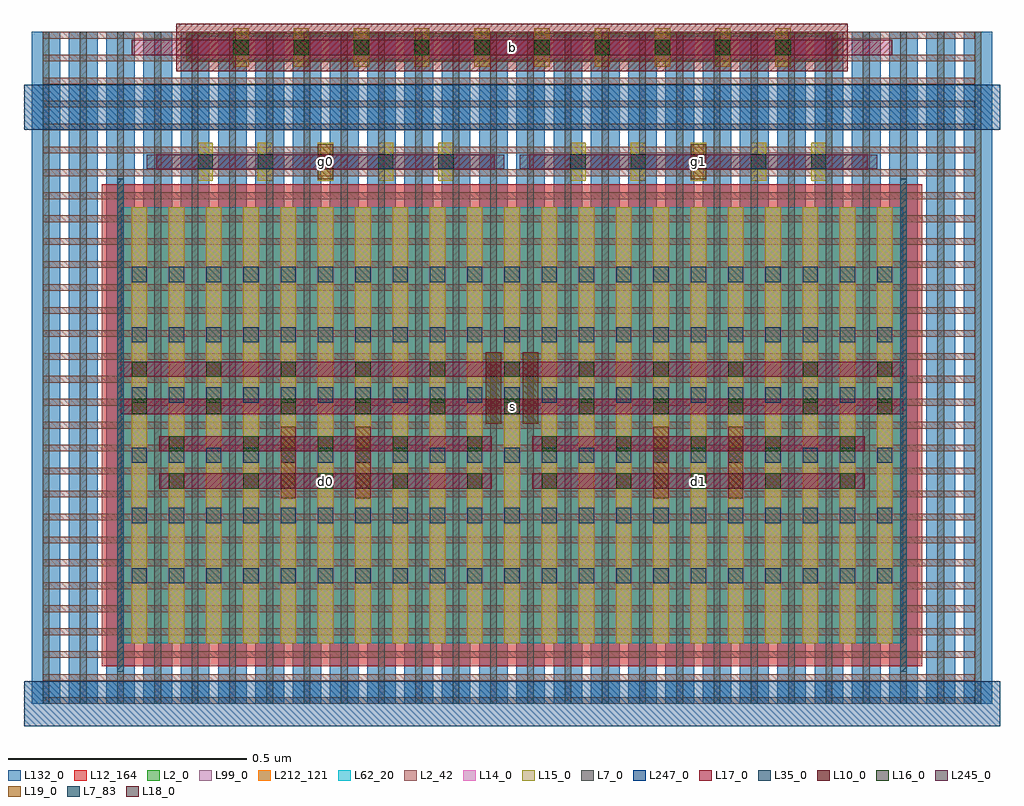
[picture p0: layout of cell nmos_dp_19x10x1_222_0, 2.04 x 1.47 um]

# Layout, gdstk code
import gdstk
lib = gdstk.Library(unit=1e-6, precision=1e-12)
def R(c, l, rs):  # rectangles x0, y0, x1, y1
    for r in rs: c.add(gdstk.rectangle(r[:2], r[2:], *l))
def A(c, l, x, y, w, h, nx, ny, dx, dy):  # array of equal rectangles
    R(c, l, [(x+i*dx, y+j*dy, x+i*dx+w, y+j*dy+h) for i in range(nx) for j in range(ny)])
L2_0 = (2, 0)
L2_42 = (2, 42)
L7_0 = (7, 0)
L7_83 = (7, 83)
L10_0 = (10, 0)
L12_164 = (12, 164)
L14_0 = (14, 0)
L15_0 = (15, 0)
L16_0 = (16, 0)
L17_0 = (17, 0)
L18_0 = (18, 0)
L19_0 = (19, 0)
L35_0 = (35, 0)
L62_20 = (62, 20)
L99_0 = (99, 0)
L132_0 = (132, 0)
L212_121 = (212, 121)
L245_0 = (245, 0)
L247_0 = (247, 0)

nmos_dp_19x10x1_222_0 = lib.new_cell('nmos_dp_19x10x1_222_0')
R(nmos_dp_19x10x1_222_0, L2_0, [(0.186,0.127,1.824,1.039), (0.323,1.343,1.687,1.403)])
A(nmos_dp_19x10x1_222_0, L2_42, 0.023, 0, 1.95, 0.014, 1, 30, 0, 0.048)
A(nmos_dp_19x10x1_222_0, L7_0, 0.023, 0, 0.014, 1.406, 26, 1, 0.078, 0)
R(nmos_dp_19x10x1_222_0, L7_83, [(0.179,0.067,0.193,1.099), (1.817,0.067,1.831,1.099)])
R(nmos_dp_19x10x1_222_0, L10_0, [(0.303,1.323,1.707,1.423)])
R(nmos_dp_19x10x1_222_0, L12_164, [(0.147,0.079,1.863,1.087)])
A(nmos_dp_19x10x1_222_0, L14_0, 0.208, 0.127, 0.034, 0.912, 21, 1, 0.078, 0)
R(nmos_dp_19x10x1_222_0, L14_0, [(0.338,1.353,1.672,1.393)])
A(nmos_dp_19x10x1_222_0, L15_0, 0.209, 0.127, 0.032, 0.912, 21, 1, 0.078, 0)
A(nmos_dp_19x10x1_222_0, L15_0, 0.347, 1.094, 0.032, 0.08, 5, 1, 0.126, 0)
A(nmos_dp_19x10x1_222_0, L15_0, 1.127, 1.094, 0.032, 0.08, 5, 1, 0.126, 0)
A(nmos_dp_19x10x1_222_0, L15_0, 0.422, 1.333, 0.032, 0.08, 10, 1, 0.126, 0)
A(nmos_dp_19x10x1_222_0, L16_0, 0.287, 0.45, 0.032, 0.032, 10, 2, 0.156, 0.078)
A(nmos_dp_19x10x1_222_0, L16_0, 0.209, 0.606, 0.032, 0.032, 11, 2, 0.156, 0.078)
A(nmos_dp_19x10x1_222_0, L16_0, 0.347, 1.118, 0.032, 0.032, 5, 1, 0.126, 0)
A(nmos_dp_19x10x1_222_0, L16_0, 1.127, 1.118, 0.032, 0.032, 5, 1, 0.126, 0)
A(nmos_dp_19x10x1_222_0, L16_0, 0.422, 1.357, 0.032, 0.032, 10, 1, 0.126, 0)
R(nmos_dp_19x10x1_222_0, L17_0, [(0.267,0.45,0.963,0.482), (1.047,0.45,1.743,0.482), (0.267,0.528,0.963,0.56), (1.047,0.528,1.743,0.56), (0.186,0.606,1.824,0.638), (0.186,0.684,1.824,0.716), (0.261,1.118,0.969,1.15), (1.041,1.118,1.749,1.15), (0.209,1.357,1.801,1.389)])
R(nmos_dp_19x10x1_222_0, L18_0, [(0.521,0.45,0.553,0.482), (0.677,0.45,0.709,0.482), (1.301,0.45,1.333,0.482), (1.457,0.45,1.489,0.482), (0.521,0.528,0.553,0.56), (0.677,0.528,0.709,0.56), (1.301,0.528,1.333,0.56), (1.457,0.528,1.489,0.56), (0.95,0.606,0.982,0.638), (1.028,0.606,1.06,0.638), (0.95,0.684,0.982,0.716), (1.028,0.684,1.06,0.716), (0.599,1.118,0.631,1.15), (1.379,1.118,1.411,1.15)])
R(nmos_dp_19x10x1_222_0, L19_0, [(0.521,0.43,0.553,0.58), (0.677,0.43,0.709,0.58), (1.301,0.43,1.333,0.58), (1.457,0.43,1.489,0.58), (0.95,0.586,0.982,0.736), (1.028,0.586,1.06,0.736), (0.599,1.098,0.631,1.171), (1.379,1.098,1.411,1.171)])
A(nmos_dp_19x10x1_222_0, L35_0, 0.209, 0.252, 0.032, 0.032, 21, 6, 0.078, 0.126)
A(nmos_dp_19x10x1_222_0, L35_0, 0.347, 1.118, 0.032, 0.032, 5, 1, 0.126, 0)
A(nmos_dp_19x10x1_222_0, L35_0, 1.127, 1.118, 0.032, 0.032, 5, 1, 0.126, 0)
A(nmos_dp_19x10x1_222_0, L35_0, 0.422, 1.357, 0.032, 0.032, 10, 1, 0.126, 0)
R(nmos_dp_19x10x1_222_0, L62_20, [(0.186,0.127,1.824,1.039)])
R(nmos_dp_19x10x1_222_0, L99_0, [(0.186,0.127,1.824,1.039), (0.333,1.348,1.677,1.398)])
A(nmos_dp_19x10x1_222_0, L132_0, 0, 0, 0.06, 1.406, 26, 1, 0.078, 0)
R(nmos_dp_19x10x1_222_0, L212_121, [(0.186,0.127,1.824,1.039)])
R(nmos_dp_19x10x1_222_0, L245_0, [(0.241,1.119,0.989,1.149), (1.021,1.119,1.769,1.149)])
R(nmos_dp_19x10x1_222_0, L247_0, [(-0.016,-0.047,2.026,0.047), (-0.016,1.201,2.026,1.295)])
nmos_dp_19x10x1_222_0.add(gdstk.Label('s', (1.005,0.622), layer=16, texttype=20))
nmos_dp_19x10x1_222_0.add(gdstk.Label('d1', (1.395,0.466), layer=16, texttype=20))
nmos_dp_19x10x1_222_0.add(gdstk.Label('d0', (0.615,0.466), layer=16, texttype=20))
nmos_dp_19x10x1_222_0.add(gdstk.Label('g0', (0.615,1.1345), layer=16, texttype=20))
nmos_dp_19x10x1_222_0.add(gdstk.Label('g1', (1.395,1.1345), layer=16, texttype=20))
nmos_dp_19x10x1_222_0.add(gdstk.Label('b', (1.005,1.373), layer=16, texttype=20))

lib.write_gds('nmos_dp_19x10x1_222_0.gds')
